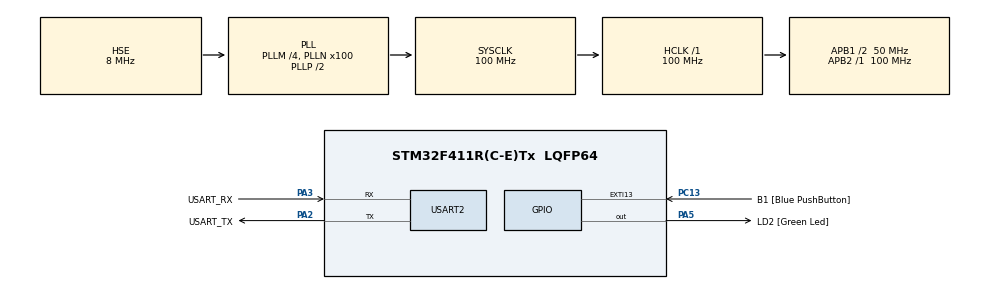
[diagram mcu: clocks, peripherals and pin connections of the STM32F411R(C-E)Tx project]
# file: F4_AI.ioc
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Mcu.Family=STM32F4
Mcu.Name=STM32F411R(C-E)Tx
Mcu.Package=LQFP64
NVIC.PriorityGroup=NVIC_PRIORITYGROUP_0
NVIC.USART2_IRQn=true\:0\:0\:false\:false\:true\:true\:true\:true
PA13.GPIO_Label=TMS
PA13.Mode=Serial_Wire
PA13.Signal=SYS_JTMS-SWDIO
PA14.GPIO_Label=TCK
PA14.Mode=Serial_Wire
PA14.Signal=SYS_JTCK-SWCLK
PA2.GPIO_Label=USART_TX
PA2.Mode=Asynchronous
PA2.Signal=USART2_TX
PA3.GPIO_Label=USART_RX
PA3.Mode=Asynchronous
PA3.Signal=USART2_RX
PA5.GPIO_Label=LD2 [Green Led]
PA5.Signal=GPIO_Output
PB3.GPIO_Label=SWO
PB3.Signal=SYS_JTDO-SWO
PC13-ANTI_TAMP.GPIO_Label=B1 [Blue PushButton]
PC13-ANTI_TAMP.GPIO_ModeDefaultEXTI=GPIO_MODE_IT_FALLING
PC13-ANTI_TAMP.Signal=GPXTI13
PC14-OSC32_IN.Mode=LSE-External-Oscillator
PC14-OSC32_IN.Signal=RCC_OSC32_IN
PC15-OSC32_OUT.Mode=LSE-External-Oscillator
PC15-OSC32_OUT.Signal=RCC_OSC32_OUT
PH0\ -\ OSC_IN.Mode=HSE-External-Clock-Source
PH0\ -\ OSC_IN.Signal=RCC_OSC_IN
PH1\ -\ OSC_OUT.Mode=HSE-External-Clock-Source
PH1\ -\ OSC_OUT.Signal=RCC_OSC_OUT
ProjectManager.HeapSize=0x800
ProjectManager.StackSize=0x800
ProjectManager.TargetToolchain=STM32CubeIDE
RCC.48MHZClocksFreq_Value=50000000
RCC.AHBFreq_Value=100000000
RCC.APB1CLKDivider=RCC_HCLK_DIV2
RCC.APB1Freq_Value=50000000
RCC.APB1TimFreq_Value=100000000
RCC.APB2Freq_Value=100000000
RCC.APB2TimFreq_Value=100000000
RCC.CortexFreq_Value=100000000
RCC.FLatency-AdvancedSettings=FLASH_LATENCY_3
RCC.HCLKFreq_Value=100000000
RCC.HSE_VALUE=8000000
RCC.HSI_VALUE=16000000
RCC.PLLM=4
RCC.PLLN=100
RCC.PLLSourceVirtual=RCC_PLLSOURCE_HSE
RCC.SYSCLKFreq_VALUE=100000000
RCC.SYSCLKSource=RCC_SYSCLKSOURCE_PLLCLK
RCC.VCOOutputFreq_Value=200000000
STMicroelectronics.X-CUBE-AI.8.1.0.ActivationBufferSizeList=6044
STMicroelectronics.X-CUBE-AI.8.1.0.ActivationBuffers=pool0
STMicroelectronics.X-CUBE-AI.8.1.0.ActivationNames=pool0
STMicroelectronics.X-CUBE-AI.8.1.0.ActivationSizes=AI_CAN_NETWORK_DATA_ACTIVATION_1_SIZE
STMicroelectronics.X-CUBE-AI.8.1.0.HeapSize=0x800
STMicroelectronics.X-CUBE-AI.8.1.0.InternalRamActivationBufferMaxSize=AI_CAN_NETWORK_DATA_ACTIVATIONS_SIZE
STMicroelectronics.X-CUBE-AI.8.1.0.LatestDirectoryUsed-5de711e0f1be851fb62de04857156efd685f285edfc013b61e48d4ba92a4b9a7=/Users/kietr/Study/Learning/IDS_AI
STMicroelectronics.X-CUBE-AI.8.1.0.MaximumNumberOfInputLayer=1
STMicroelectronics.X-CUBE-AI.8.1.0.MaximumNumberOfOutputLayer=1
STMicroelectronics.X-CUBE-AI.8.1.0.MaximumSizeOfInputLayer=1
STMicroelectronics.X-CUBE-AI.8.1.0.MaximumSizeOfOutputLayer=1
STMicroelectronics.X-CUBE-AI.8.1.0.ModelActualCompression-5de711e0f1be851fb62de04857156efd685f285edfc013b61e48d4ba92a4b9a7=0.0
STMicroelectronics.X-CUBE-AI.8.1.0.ModelCompression-5de711e0f1be851fb62de04857156efd685f285edfc013b61e48d4ba92a4b9a7=None
STMicroelectronics.X-CUBE-AI.8.1.0.ModelFlashOccupation-5de711e0f1be851fb62de04857156efd685f285edfc013b61e48d4ba92a4b9a7=102194
STMicroelectronics.X-CUBE-AI.8.1.0.ModelHashList=5de711e0f1be851fb62de04857156efd685f285edfc013b61e48d4ba92a4b9a7
STMicroelectronics.X-CUBE-AI.8.1.0.ModelKind-5de711e0f1be851fb62de04857156efd685f285edfc013b61e48d4ba92a4b9a7=TFLITE
STMicroelectronics.X-CUBE-AI.8.1.0.ModelMacc-5de711e0f1be851fb62de04857156efd685f285edfc013b61e48d4ba92a4b9a7=191072
STMicroelectronics.X-CUBE-AI.8.1.0.ModelName-5de711e0f1be851fb62de04857156efd685f285edfc013b61e48d4ba92a4b9a7=can_network
STMicroelectronics.X-CUBE-AI.8.1.0.ModelNameList=can_network
STMicroelectronics.X-CUBE-AI.8.1.0.ModelRamOccupation-5de711e0f1be851fb62de04857156efd685f285edfc013b61e48d4ba92a4b9a7=6044
STMicroelectronics.X-CUBE-AI.8.1.0.ModelStructureFile-5de711e0f1be851fb62de04857156efd685f285edfc013b61e48d4ba92a4b9a7=/Users/kietr/Study/Learning/IDS_AI/tfmodel_final.tflite
STMicroelectronics.X-CUBE-AI.8.1.0.ModelType-5de711e0f1be851fb62de04857156efd685f285edfc013b61e48d4ba92a4b9a7=STM32Cube.AI runtime
STMicroelectronics.X-CUBE-AI.8.1.0.ReadyForCodeGeneration=true
STMicroelectronics.X-CUBE-AI.8.1.0.StackSize=0x800
STMicroelectronics.X-CUBE-AI.8.1.0.ValidationInputFileHistory-5de711e0f1be851fb62de04857156efd685f285edfc013b61e48d4ba92a4b9a7=/Users/kietr/Study/Learning/IDS_AI/data.npz
STMicroelectronics.X-CUBE-AI.8.1.0.WorkingBufferStartAddrList=0xFFFFFFFF
STMicroelectronics.X-CUBE-AI.8.1.0.XAaCUBEAaAICcArtificialOoIntelligenceJjCore=true
STMicroelectronics.X-CUBE-AI.8.1.0.copyWeightToRam-5de711e0f1be851fb62de04857156efd685f285edfc013b61e48d4ba92a4b9a7=false
STMicroelectronics.X-CUBE-AI.8.1.0.customLayerConfigEnabled-5de711e0f1be851fb62de04857156efd685f285edfc013b61e48d4ba92a4b9a7=false
STMicroelectronics.X-CUBE-AI.8.1.0.noOnnxIoTranspose-5de711e0f1be851fb62de04857156efd685f285edfc013b61e48d4ba92a4b9a7=false
STMicroelectronics.X-CUBE-AI.8.1.0.outputDirectory-5de711e0f1be851fb62de04857156efd685f285edfc013b61e48d4ba92a4b9a7=/Users/kietr/.stm32cubemx/can_network_output
STMicroelectronics.X-CUBE-AI.8.1.0.useInputAllocation-5de711e0f1be851fb62de04857156efd685f285edfc013b61e48d4ba92a4b9a7=true
STMicroelectronics.X-CUBE-AI.8.1.0.useOutputAllocation-5de711e0f1be851fb62de04857156efd685f285edfc013b61e48d4ba92a4b9a7=true
TIM10.Prescaler=99
USART2.VirtualMode=VM_ASYNC
VP_CRC_VS_CRC.Mode=CRC_Activate
VP_STMicroelectronics.X-CUBE-AI_VS_ArtificialOoIntelligenceJjXAaCUBEAaAI_8.1.0.Mode=ArtificialOoIntelligenceJjXAaCUBEAaAI
VP_TIM10_VS_ClockSourceINT.Mode=Enable_Timer
board=NUCLEO-F411RE

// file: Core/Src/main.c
/* USER CODE BEGIN Header */
/**
  ******************************************************************************
  * @file           : main.c
  * @brief          : Main program body
  ******************************************************************************
  * @attention
  *
  * Copyright (c) 2024 STMicroelectronics.
  * All rights reserved.
  *
  * This software is licensed under terms that can be found in the LICENSE file
  * in the root directory of this software component.
  * If no LICENSE file comes with this software, it is provided AS-IS.
  *
  ******************************************************************************
  */
/* USER CODE END Header */
#include "main.h"

/* USER CODE BEGIN Includes */
#include "ai_can.h"

#include <stdio.h>
#include <string.h>
/* USER CODE END Includes */

/* USER CODE BEGIN PTD */
AppConfig_TypeDef App_Config;
/* USER CODE END PTD */

CRC_HandleTypeDef hcrc;

TIM_HandleTypeDef htim10;

UART_HandleTypeDef huart2;

/* USER CODE BEGIN PV */
#define MAX_BUFFER_SIZE 30

#define INIT_STATE 1
#define READ_STATE 2

uint8_t temp = 0;
uint8_t buffer[MAX_BUFFER_SIZE];
uint8_t index_buffer = 0;
uint8_t buffer_flag = 0;
uint8_t command_flag = 0;

int command_state = INIT_STATE;
char str[20];
char data[MAX_BUFFER_SIZE];
uint8_t index_data = 0;
/* USER CODE END PV */

void SystemClock_Config(void);
static void MX_GPIO_Init(void);
static void MX_USART2_UART_Init(void);
static void MX_CRC_Init(void);
static void MX_TIM10_Init(void);

/* USER CODE BEGIN 0 */
uint8_t rx_buff[30];

void command_parser_fsm(){
	uint8_t i = (index_buffer - 1 < 0)? MAX_BUFFER_SIZE - 1 : index_buffer - 1;
	switch(command_state){
		case INIT_STATE:
			if (temp == '!') command_state = READ_STATE;
			break;
		case READ_STATE:
			if (buffer[i] == '#'){
				command_flag = 1;
				command_state = INIT_STATE;
			}
			else if (buffer[i] == '!'){
				index_data = 0;
				memset(App_Config.data, '\0', sizeof(App_Config.data));
			}
			else App_Config.data[index_data++] = buffer[i];
			break;
		default:
			break;
	}
}

void uart_communication(){
	if (command_flag == 1)
	{
		command_flag = 0;

		Can_Network_Preprocess();

		Can_Network_Inference();

		Can_Network_Postprocess();

		HAL_UART_Transmit(&huart2, (uint8_t*)App_Config.sent_buffer, sizeof(App_Config.sent_buffer), 1000);

		memset(App_Config.sent_buffer, '\0', sizeof(App_Config.sent_buffer));
	}

}
/* USER CODE END 0 */

int main(void)
{

  /* MCU Configuration--------------------------------------------------------*/

  /* Reset of all peripherals, Initializes the Flash interface and the Systick. */
  HAL_Init();

  /* Configure the system clock */
  SystemClock_Config();

  /* Initialize all configured peripherals */
  MX_GPIO_Init();
  MX_USART2_UART_Init();
  MX_CRC_Init();
  MX_TIM10_Init();
  /* USER CODE BEGIN 2 */
  HAL_TIM_Base_Start(&htim10);
  network_init();
  uint8_t data[] = "HELLO WORLD \r\n";

  HAL_UART_Transmit (&huart2, data, sizeof(data), 10);

  HAL_UART_Receive_IT(&huart2, &temp, 1);
  /* USER CODE END 2 */

  /* Infinite loop */
  while (1)
  {

    /* USER CODE BEGIN 3 */
	  if (buffer_flag == 1){
		  command_parser_fsm();
		  buffer_flag = 0;
	  }
	  uart_communication();

  }
  /* USER CODE END 3 */
}

void SystemClock_Config(void)
{
  RCC_OscInitTypeDef RCC_OscInitStruct = {0};
  RCC_ClkInitTypeDef RCC_ClkInitStruct = {0};

  /** Configure the main internal regulator output voltage
  */
  __HAL_RCC_PWR_CLK_ENABLE();
  __HAL_PWR_VOLTAGESCALING_CONFIG(PWR_REGULATOR_VOLTAGE_SCALE1);

  /** Initializes the RCC Oscillators according to the specified parameters
  * in the RCC_OscInitTypeDef structure.
  */
  RCC_OscInitStruct.OscillatorType = RCC_OSCILLATORTYPE_HSE;
  RCC_OscInitStruct.HSEState = RCC_HSE_BYPASS;
  RCC_OscInitStruct.PLL.PLLState = RCC_PLL_ON;
  RCC_OscInitStruct.PLL.PLLSource = RCC_PLLSOURCE_HSE;
  RCC_OscInitStruct.PLL.PLLM = 4;
  RCC_OscInitStruct.PLL.PLLN = 100;
  RCC_OscInitStruct.PLL.PLLP = RCC_PLLP_DIV2;
  RCC_OscInitStruct.PLL.PLLQ = 4;
  if (HAL_RCC_OscConfig(&RCC_OscInitStruct) != HAL_OK)
  {
    Error_Handler();
  }

  /** Initializes the CPU, AHB and APB buses clocks
  */
  RCC_ClkInitStruct.ClockType = RCC_CLOCKTYPE_HCLK|RCC_CLOCKTYPE_SYSCLK
                              |RCC_CLOCKTYPE_PCLK1|RCC_CLOCKTYPE_PCLK2;
  RCC_ClkInitStruct.SYSCLKSource = RCC_SYSCLKSOURCE_PLLCLK;
  RCC_ClkInitStruct.AHBCLKDivider = RCC_SYSCLK_DIV1;
  RCC_ClkInitStruct.APB1CLKDivider = RCC_HCLK_DIV2;
  RCC_ClkInitStruct.APB2CLKDivider = RCC_HCLK_DIV1;

  if (HAL_RCC_ClockConfig(&RCC_ClkInitStruct, FLASH_LATENCY_3) != HAL_OK)
  {
    Error_Handler();
  }
}

static void MX_CRC_Init(void)
{

  hcrc.Instance = CRC;
  if (HAL_CRC_Init(&hcrc) != HAL_OK)
  {
    Error_Handler();
  }

}

static void MX_TIM10_Init(void)
{

  htim10.Instance = TIM10;
  htim10.Init.Prescaler = 99;
  htim10.Init.CounterMode = TIM_COUNTERMODE_UP;
  htim10.Init.Period = 65535;
  htim10.Init.ClockDivision = TIM_CLOCKDIVISION_DIV1;
  htim10.Init.AutoReloadPreload = TIM_AUTORELOAD_PRELOAD_DISABLE;
  if (HAL_TIM_Base_Init(&htim10) != HAL_OK)
  {
    Error_Handler();
  }

}

static void MX_USART2_UART_Init(void)
{

  huart2.Instance = USART2;
  huart2.Init.BaudRate = 115200;
  huart2.Init.WordLength = UART_WORDLENGTH_8B;
  huart2.Init.StopBits = UART_STOPBITS_1;
  huart2.Init.Parity = UART_PARITY_NONE;
  huart2.Init.Mode = UART_MODE_TX_RX;
  huart2.Init.HwFlowCtl = UART_HWCONTROL_NONE;
  huart2.Init.OverSampling = UART_OVERSAMPLING_16;
  if (HAL_UART_Init(&huart2) != HAL_OK)
  {
    Error_Handler();
  }

}

static void MX_GPIO_Init(void)
{
  GPIO_InitTypeDef GPIO_InitStruct = {0};

  /* GPIO Ports Clock Enable */
  __HAL_RCC_GPIOC_CLK_ENABLE();
  __HAL_RCC_GPIOH_CLK_ENABLE();
  __HAL_RCC_GPIOA_CLK_ENABLE();
  __HAL_RCC_GPIOB_CLK_ENABLE();

  /*Configure GPIO pin Output Level */
  HAL_GPIO_WritePin(LD2_GPIO_Port, LD2_Pin, GPIO_PIN_RESET);

  /*Configure GPIO pin : B1_Pin */
  GPIO_InitStruct.Pin = B1_Pin;
  GPIO_InitStruct.Mode = GPIO_MODE_IT_FALLING;
  GPIO_InitStruct.Pull = GPIO_NOPULL;
  HAL_GPIO_Init(B1_GPIO_Port, &GPIO_InitStruct);

  /*Configure GPIO pin : LD2_Pin */
  GPIO_InitStruct.Pin = LD2_Pin;
  GPIO_InitStruct.Mode = GPIO_MODE_OUTPUT_PP;
  GPIO_InitStruct.Pull = GPIO_NOPULL;
  GPIO_InitStruct.Speed = GPIO_SPEED_FREQ_LOW;
  HAL_GPIO_Init(LD2_GPIO_Port, &GPIO_InitStruct);

}

/* USER CODE BEGIN 4 */
void HAL_UART_RxCpltCallback(UART_HandleTypeDef *huart)
{
	buffer[index_buffer++] = temp;
	if(index_buffer == MAX_BUFFER_SIZE) index_buffer = 0;
	buffer_flag = 1;
	HAL_UART_Receive_IT(&huart2, &temp, 1); //You need to toggle a breakpoint on this line!
}
/* USER CODE END 4 */

void Error_Handler(void)
{
  __disable_irq();
  while (1)
  {
  }
}
